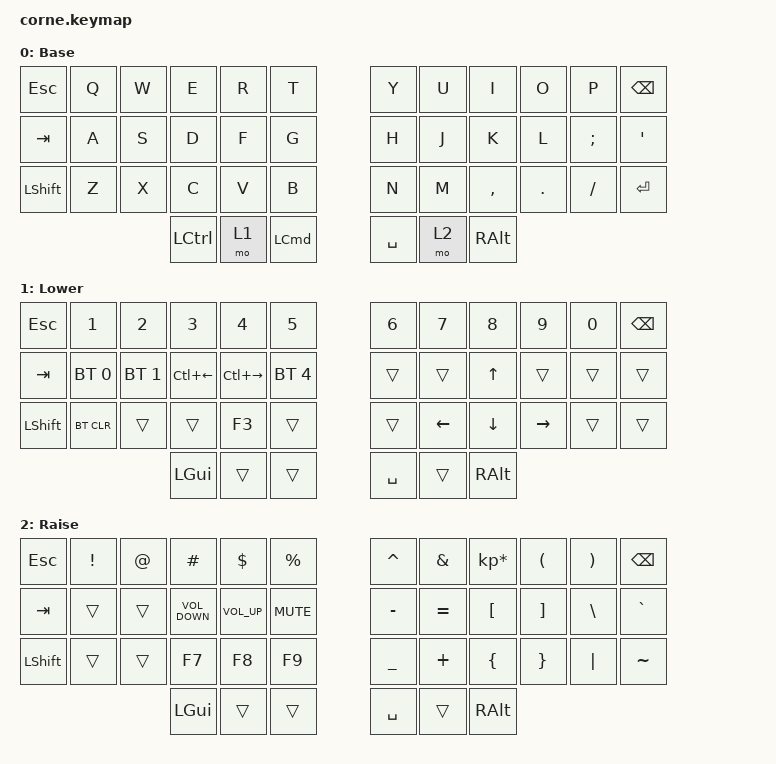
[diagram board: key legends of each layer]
/*
 * Copyright (c) 2020 The ZMK Contributors
 *
 * SPDX-License-Identifier: MIT
 */

#include <behaviors.dtsi>
#include <dt-bindings/zmk/bt.h>
#include <dt-bindings/zmk/keys.h>

/ {
    macros {
        screenshotarea: screenshotarea {
            compatible = "zmk,behavior-macro";
            #binding-cells = <0>;
            bindings = <&kp LEFT_COMMAND &kp LS(NUMBER_4)>, <&macro_press>;

            label = "SCREENSHOTAREA";
        };
        screenshotwhole: screenshotwhole {
            compatible = "zmk,behavior-macro";
            #binding-cells = <0>;
            bindings = <&kp LEFT_COMMAND &kp LS(NUMBER_3)>, <&macro_press>;

            label = "SCREENSHOTWHOLE";
        };
    };

    keymap {
        compatible = "zmk,keymap";

        default_layer {
            // -----------------------------------------------------------------------------------------
            // |  TAB |  Q  |  W  |  E  |  R  |  T  |   |  Y  |  U   |  I  |  O  |  P  | BKSP |
            // | CTRL |  A  |  S  |  D  |  F  |  G  |   |  H  |  J   |  K  |  L  |  ;  |  '   |
            // | SHFT |  Z  |  X  |  C  |  V  |  B  |   |  N  |  M   |  ,  |  .  |  /  | ESC  |
            //                    | GUI | LWR | SPC |   | ENT | RSE  | ALT |

            label = "Base";
            bindings = <
&kp ESC    &kp Q  &kp W  &kp E      &kp R  &kp T               &kp Y      &kp U  &kp I      &kp O    &kp P     &kp BSPC
&kp TAB    &kp A  &kp S  &kp D      &kp F  &kp G               &kp H      &kp J  &kp K      &kp L    &kp SEMI  &kp APOS
&kp LSHFT  &kp Z  &kp X  &kp C      &kp V  &kp B               &kp N      &kp M  &kp COMMA  &kp DOT  &kp FSLH  &kp ENTER
                         &kp LCTRL  &mo 1  &kp LEFT_COMMAND    &kp SPACE  &mo 2  &kp RALT
            >;
        };

        lower_layer {
            // -----------------------------------------------------------------------------------------
            // |  TAB |  1  |  2  |  3  |  4  |  5  |   |  6  |  7  |  8  |  9  |  0  | BKSP |
            // | BTCLR| BT1 | BT2 | BT3 | BT4 | BT5 |   | LFT | DWN |  UP | RGT |     |      |
            // | SHFT |     |     |     |     |     |   |     |     |     |     |     |      |
            //                    | GUI |     | SPC |   | ENT |     | ALT |

            label = "Lower";
            bindings = <
&kp ESCAPE  &kp N1        &kp N2        &kp N3              &kp N4               &kp N5          &kp N6     &kp N7          &kp N8          &kp N9           &kp N0  &kp BSPC
&kp TAB     &bt BT_SEL 0  &bt BT_SEL 1  &kp LC(LEFT_ARROW)  &kp LC(RIGHT_ARROW)  &bt BT_SEL 4    &trans     &trans          &kp UP          &trans           &trans  &trans
&kp LSHFT   &bt BT_CLR    &trans        &trans              &kp F3               &trans          &trans     &kp LEFT_ARROW  &kp DOWN_ARROW  &kp RIGHT_ARROW  &trans  &trans
                                        &kp LGUI            &trans               &trans          &kp SPACE  &trans          &kp RALT
            >;
        };

        raise_layer {
            // -----------------------------------------------------------------------------------------
            // |  TAB |  !  |  @  |  #  |  $  |  %  |   |  ^  |  &  |  *  |  (  |  )  | BKSP |
            // | CTRL |     |     |     |     |     |   |  -  |  =  |  [  |  ]  |  \  |  `   |
            // | SHFT |     |     |     |     |     |   |  _  |  +  |  {  |  }  | "|" |  ~   |
            //                    | GUI |     | SPC |   | ENT |     | ALT |

            label = "Raise";
            bindings = <
&kp ESC    &kp EXCL  &kp AT  &kp HASH           &kp DLLR         &kp PRCNT     &kp CARET  &kp AMPS   &kp KP_MULTIPLY  &kp LPAR  &kp RPAR  &kp BSPC
&kp TAB    &trans    &trans  &kp C_VOLUME_DOWN  &kp C_VOLUME_UP  &kp C_MUTE    &kp MINUS  &kp EQUAL  &kp LBKT         &kp RBKT  &kp BSLH  &kp GRAVE
&kp LSHFT  &trans    &trans  &kp F7             &kp F8           &kp F9        &kp UNDER  &kp PLUS   &kp LBRC         &kp RBRC  &kp PIPE  &kp TILDE
                             &kp LGUI           &trans           &trans        &kp SPACE  &trans     &kp RALT
            >;
        };
    };
};
